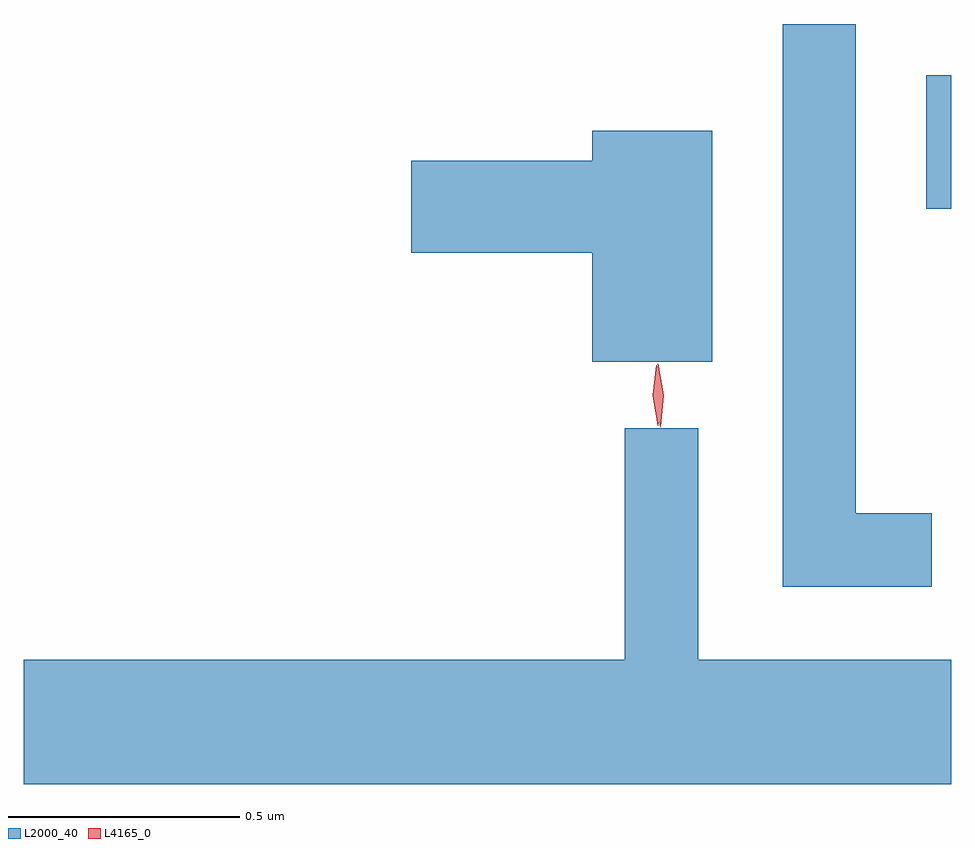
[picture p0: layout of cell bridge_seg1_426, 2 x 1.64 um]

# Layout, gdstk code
import gdstk
lib = gdstk.Library(unit=1e-6, precision=1e-09)
def R(c, l, rs):  # rectangles x0, y0, x1, y1
    for r in rs: c.add(gdstk.rectangle(r[:2], r[2:], *l))
def P(c, l, *ps):  # polygons
    for p in ps: c.add(gdstk.Polygon(p, *l))
L2000_40 = (2000, 40)
L4165_0 = (4165, 0)

bridge_seg1_426 = lib.new_cell('bridge_seg1_426')
R(bridge_seg1_426, L2000_40, [(372.886,951.876,372.94,952.164)])
P(bridge_seg1_426, L2000_40, [(372.898,951.219),(372.734,951.219),(372.734,952.274),(372.576,952.274),(372.576,951.061),(372.898,951.061)],
  [(372.424,952.044),(372.166,952.044),(372.166,951.979),(371.776,951.979),(371.776,951.781),(372.166,951.781),(372.166,951.546),(372.424,951.546)],
  [(372.94,950.904),(372.394,950.904),(372.394,951.403),(372.236,951.403),(372.236,950.904),(370.94,950.904),(370.94,950.636),(372.94,950.636)])
P(bridge_seg1_426, L4165_0, [(372.307,951.408),(372.307,951.408),(372.296,951.474),(372.304,951.539),(372.305,951.539),(372.305,951.539),(372.316,951.474),(372.308,951.408)],
  [(372.313,951.405),(372.312,951.406),(372.3,951.473),(372.307,951.542),(372.307,951.542),(372.308,951.542),(372.32,951.474),(372.313,951.406)])

lib.write_gds('bridge_seg1_426.gds')
